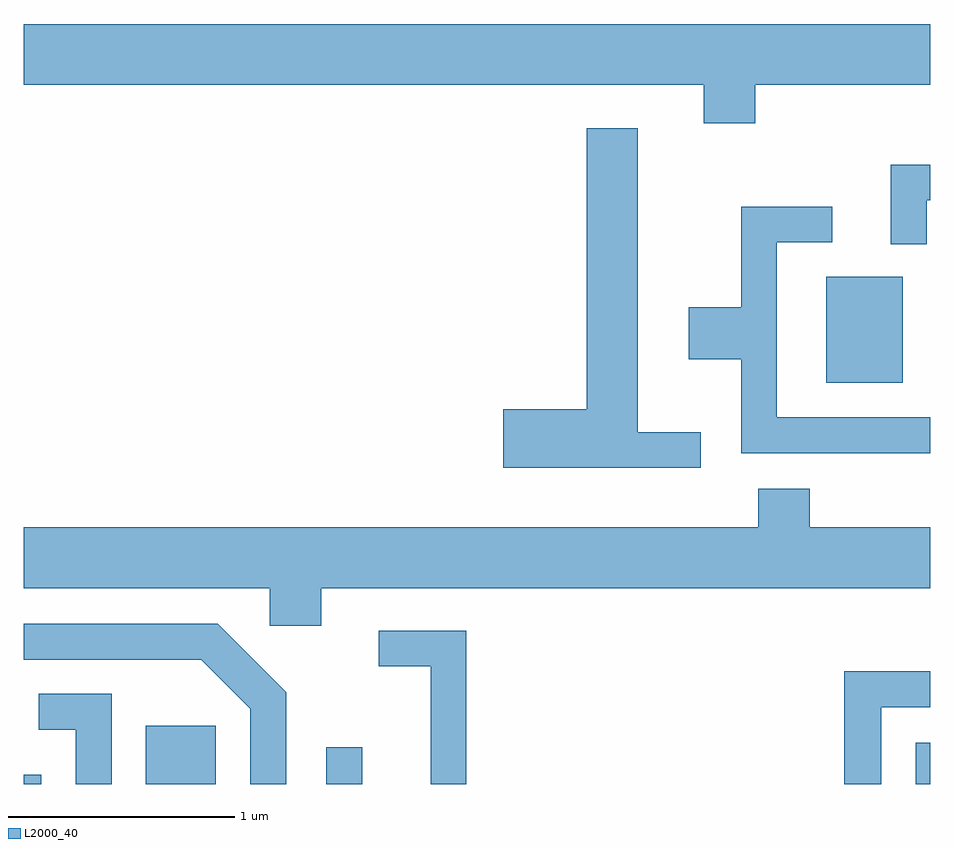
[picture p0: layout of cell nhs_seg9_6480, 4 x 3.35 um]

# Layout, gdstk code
import gdstk
lib = gdstk.Library(unit=1e-6, precision=1e-09)
def R(c, l, rs):  # rectangles x0, y0, x1, y1
    for r in rs: c.add(gdstk.rectangle(r[:2], r[2:], *l))
def P(c, l, *ps):  # polygons
    for p in ps: c.add(gdstk.Polygon(p, *l))
L2000_40 = (2000, 40)

nhs_seg9_6480 = lib.new_cell('nhs_seg9_6480')
R(nhs_seg9_6480, L2000_40, [(375.611,2066.432,375.689,2066.472), (376.151,2066.432,376.459,2066.689), (376.946,2066.432,377.104,2066.593), (379.546,2066.432,379.611,2066.614), (379.151,2068.201,379.489,2068.669)])
P(nhs_seg9_6480, L2000_40, [(378.839,2069.516),(379.611,2069.516),(379.611,2069.784),(375.611,2069.784),(375.611,2069.516),(378.611,2069.516),(378.611,2069.346),(378.839,2069.346)],
  [(378.598,2067.984),(378.319,2067.984),(378.319,2069.324),(378.096,2069.324),(378.096,2068.084),(377.726,2068.084),(377.726,2067.826),(378.598,2067.826)],
  [(379.594,2069.006),(379.611,2069.006),(379.611,2069.164),(379.436,2069.164),(379.436,2068.813),(379.594,2068.813)],
  [(379.611,2068.049),(378.934,2068.049),(378.934,2068.821),(379.178,2068.821),(379.178,2068.979),(378.776,2068.979),(378.776,2068.534),(378.546,2068.534),(378.546,2068.306),(378.776,2068.306),(378.776,2067.891),(379.611,2067.891)],
  [(376.924,2067.296),(379.611,2067.296),(379.611,2067.564),(379.079,2067.564),(379.079,2067.734),(378.851,2067.734),(378.851,2067.564),(375.611,2067.564),(375.611,2067.296),(376.696,2067.296),(376.696,2067.131),(376.924,2067.131)],
  [(376.769,2066.837),(376.467,2067.139),(375.611,2067.139),(375.611,2066.981),(376.394,2066.981),(376.611,2066.764),(376.611,2066.432),(376.769,2066.432)],
  [(377.564,2067.109),(377.178,2067.109),(377.178,2066.951),(377.406,2066.951),(377.406,2066.432),(377.564,2066.432)],
  [(379.394,2066.771),(379.611,2066.771),(379.611,2066.929),(379.231,2066.929),(379.231,2066.432),(379.394,2066.432)],
  [(375.999,2066.829),(375.678,2066.829),(375.678,2066.671),(375.841,2066.671),(375.841,2066.432),(375.999,2066.432)])

lib.write_gds('nhs_seg9_6480.gds')
